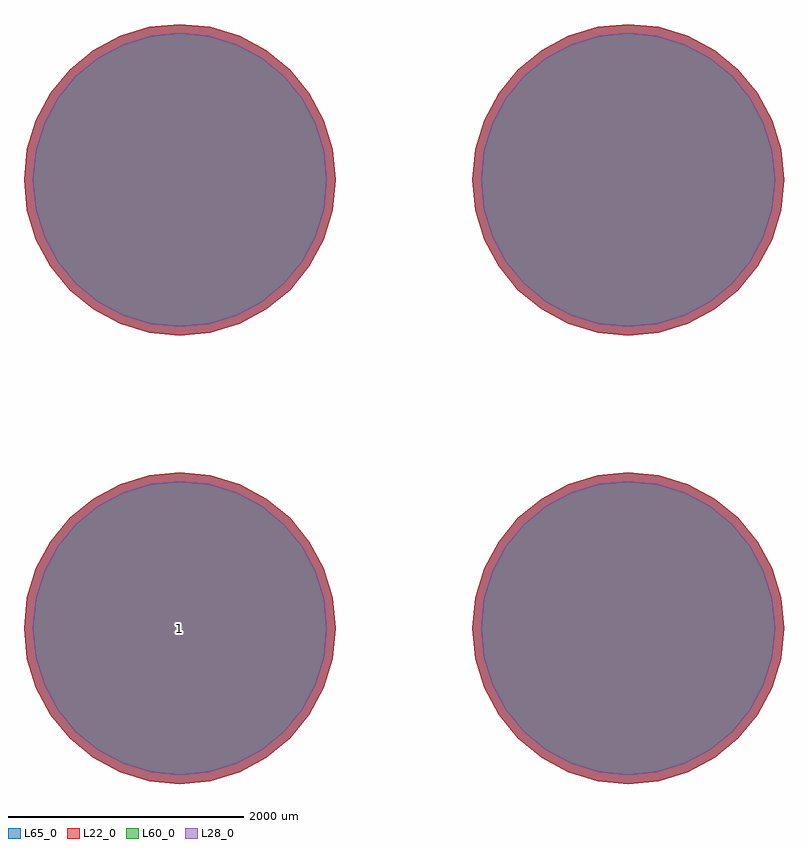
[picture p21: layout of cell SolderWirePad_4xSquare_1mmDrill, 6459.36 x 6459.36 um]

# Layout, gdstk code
import gdstk
lib = gdstk.Library(unit=1e-6, precision=1e-09)
def P(c, l, *ps):  # polygons
    for p in ps: c.add(gdstk.Polygon(p, *l))
L22_0 = (22, 0)
L28_0 = (28, 0)
L60_0 = (60, 0)
L65_0 = (65, 0)

solderwirepad_4xsquare_1 = lib.new_cell('SolderWirePad_4xSquare_1mmDrill')
P(solderwirepad_4xsquare_1, L22_0, [(3229.68,1905),(3204.227,2163.432),(3128.845,2411.933),(3006.431,2640.953),(2841.69,2841.69),(2640.953,3006.431),(2411.933,3128.845),(2163.432,3204.227),(1905,3229.68),(1646.568,3204.227),(1398.067,3128.845),(1169.047,3006.431),(968.31,2841.69),(803.569,2640.953),(681.155,2411.933),(605.773,2163.432),(580.32,1905),(605.773,1646.568),(681.155,1398.067),(803.569,1169.047),(968.31,968.31),(1169.047,803.569),(1398.067,681.155),(1646.568,605.773),(1905,580.32),(2163.432,605.773),(2411.933,681.155),(2640.953,803.569),(2841.69,968.31),(3006.431,1169.047),(3128.845,1398.067),(3204.227,1646.568)],
  [(-580.32,1905),(-605.773,2163.432),(-681.155,2411.933),(-803.569,2640.953),(-968.31,2841.69),(-1169.047,3006.431),(-1398.067,3128.845),(-1646.568,3204.227),(-1905,3229.68),(-2163.432,3204.227),(-2411.933,3128.845),(-2640.953,3006.431),(-2841.69,2841.69),(-3006.431,2640.953),(-3128.845,2411.933),(-3204.227,2163.432),(-3229.68,1905),(-3204.227,1646.568),(-3128.845,1398.067),(-3006.431,1169.047),(-2841.69,968.31),(-2640.953,803.569),(-2411.933,681.155),(-2163.432,605.773),(-1905,580.32),(-1646.568,605.773),(-1398.067,681.155),(-1169.047,803.569),(-968.31,968.31),(-803.569,1169.047),(-681.155,1398.067),(-605.773,1646.568)],
  [(3229.68,-1905),(3204.227,-1646.568),(3128.845,-1398.067),(3006.431,-1169.047),(2841.69,-968.31),(2640.953,-803.569),(2411.933,-681.155),(2163.432,-605.773),(1905,-580.32),(1646.568,-605.773),(1398.067,-681.155),(1169.047,-803.569),(968.31,-968.31),(803.569,-1169.047),(681.155,-1398.067),(605.773,-1646.568),(580.32,-1905),(605.773,-2163.432),(681.155,-2411.933),(803.569,-2640.953),(968.31,-2841.69),(1169.047,-3006.431),(1398.067,-3128.845),(1646.568,-3204.227),(1905,-3229.68),(2163.432,-3204.227),(2411.933,-3128.845),(2640.953,-3006.431),(2841.69,-2841.69),(3006.431,-2640.953),(3128.845,-2411.933),(3204.227,-2163.432)],
  [(-580.32,-1905),(-605.773,-1646.568),(-681.155,-1398.067),(-803.569,-1169.047),(-968.31,-968.31),(-1169.047,-803.569),(-1398.067,-681.155),(-1646.568,-605.773),(-1905,-580.32),(-2163.432,-605.773),(-2411.933,-681.155),(-2640.953,-803.569),(-2841.69,-968.31),(-3006.431,-1169.047),(-3128.845,-1398.067),(-3204.227,-1646.568),(-3229.68,-1905),(-3204.227,-2163.432),(-3128.845,-2411.933),(-3006.431,-2640.953),(-2841.69,-2841.69),(-2640.953,-3006.431),(-2411.933,-3128.845),(-2163.432,-3204.227),(-1905,-3229.68),(-1646.568,-3204.227),(-1398.067,-3128.845),(-1169.047,-3006.431),(-968.31,-2841.69),(-803.569,-2640.953),(-681.155,-2411.933),(-605.773,-2163.432)])
P(solderwirepad_4xsquare_1, L28_0, [(3154.68,1905),(3130.668,2148.8),(3059.554,2383.232),(2944.071,2599.285),(2788.657,2788.657),(2599.285,2944.071),(2383.232,3059.554),(2148.8,3130.668),(1905,3154.68),(1661.2,3130.668),(1426.768,3059.554),(1210.715,2944.071),(1021.343,2788.657),(865.929,2599.285),(750.446,2383.232),(679.332,2148.8),(655.32,1905),(679.332,1661.2),(750.446,1426.768),(865.929,1210.715),(1021.343,1021.343),(1210.715,865.929),(1426.768,750.446),(1661.2,679.332),(1905,655.32),(2148.8,679.332),(2383.232,750.446),(2599.285,865.929),(2788.657,1021.343),(2944.071,1210.715),(3059.554,1426.768),(3130.668,1661.2)],
  [(-655.32,1905),(-679.332,2148.8),(-750.446,2383.232),(-865.929,2599.285),(-1021.343,2788.657),(-1210.715,2944.071),(-1426.768,3059.554),(-1661.2,3130.668),(-1905,3154.68),(-2148.8,3130.668),(-2383.232,3059.554),(-2599.285,2944.071),(-2788.657,2788.657),(-2944.071,2599.285),(-3059.554,2383.232),(-3130.668,2148.8),(-3154.68,1905),(-3130.668,1661.2),(-3059.554,1426.768),(-2944.071,1210.715),(-2788.657,1021.343),(-2599.285,865.929),(-2383.232,750.446),(-2148.8,679.332),(-1905,655.32),(-1661.2,679.332),(-1426.768,750.446),(-1210.715,865.929),(-1021.343,1021.343),(-865.929,1210.715),(-750.446,1426.768),(-679.332,1661.2)],
  [(3154.68,-1905),(3130.668,-1661.2),(3059.554,-1426.768),(2944.071,-1210.715),(2788.657,-1021.343),(2599.285,-865.929),(2383.232,-750.446),(2148.8,-679.332),(1905,-655.32),(1661.2,-679.332),(1426.768,-750.446),(1210.715,-865.929),(1021.343,-1021.343),(865.929,-1210.715),(750.446,-1426.768),(679.332,-1661.2),(655.32,-1905),(679.332,-2148.8),(750.446,-2383.232),(865.929,-2599.285),(1021.343,-2788.657),(1210.715,-2944.071),(1426.768,-3059.554),(1661.2,-3130.668),(1905,-3154.68),(2148.8,-3130.668),(2383.232,-3059.554),(2599.285,-2944.071),(2788.657,-2788.657),(2944.071,-2599.285),(3059.554,-2383.232),(3130.668,-2148.8)],
  [(-655.32,-1905),(-679.332,-1661.2),(-750.446,-1426.768),(-865.929,-1210.715),(-1021.343,-1021.343),(-1210.715,-865.929),(-1426.768,-750.446),(-1661.2,-679.332),(-1905,-655.32),(-2148.8,-679.332),(-2383.232,-750.446),(-2599.285,-865.929),(-2788.657,-1021.343),(-2944.071,-1210.715),(-3059.554,-1426.768),(-3130.668,-1661.2),(-3154.68,-1905),(-3130.668,-2148.8),(-3059.554,-2383.232),(-2944.071,-2599.285),(-2788.657,-2788.657),(-2599.285,-2944.071),(-2383.232,-3059.554),(-2148.8,-3130.668),(-1905,-3154.68),(-1661.2,-3130.668),(-1426.768,-3059.554),(-1210.715,-2944.071),(-1021.343,-2788.657),(-865.929,-2599.285),(-750.446,-2383.232),(-679.332,-2148.8)])
P(solderwirepad_4xsquare_1, L60_0, [(3154.68,1905),(3130.668,2148.8),(3059.554,2383.232),(2944.071,2599.285),(2788.657,2788.657),(2599.285,2944.071),(2383.232,3059.554),(2148.8,3130.668),(1905,3154.68),(1661.2,3130.668),(1426.768,3059.554),(1210.715,2944.071),(1021.343,2788.657),(865.929,2599.285),(750.446,2383.232),(679.332,2148.8),(655.32,1905),(679.332,1661.2),(750.446,1426.768),(865.929,1210.715),(1021.343,1021.343),(1210.715,865.929),(1426.768,750.446),(1661.2,679.332),(1905,655.32),(2148.8,679.332),(2383.232,750.446),(2599.285,865.929),(2788.657,1021.343),(2944.071,1210.715),(3059.554,1426.768),(3130.668,1661.2)],
  [(-655.32,1905),(-679.332,2148.8),(-750.446,2383.232),(-865.929,2599.285),(-1021.343,2788.657),(-1210.715,2944.071),(-1426.768,3059.554),(-1661.2,3130.668),(-1905,3154.68),(-2148.8,3130.668),(-2383.232,3059.554),(-2599.285,2944.071),(-2788.657,2788.657),(-2944.071,2599.285),(-3059.554,2383.232),(-3130.668,2148.8),(-3154.68,1905),(-3130.668,1661.2),(-3059.554,1426.768),(-2944.071,1210.715),(-2788.657,1021.343),(-2599.285,865.929),(-2383.232,750.446),(-2148.8,679.332),(-1905,655.32),(-1661.2,679.332),(-1426.768,750.446),(-1210.715,865.929),(-1021.343,1021.343),(-865.929,1210.715),(-750.446,1426.768),(-679.332,1661.2)],
  [(3154.68,-1905),(3130.668,-1661.2),(3059.554,-1426.768),(2944.071,-1210.715),(2788.657,-1021.343),(2599.285,-865.929),(2383.232,-750.446),(2148.8,-679.332),(1905,-655.32),(1661.2,-679.332),(1426.768,-750.446),(1210.715,-865.929),(1021.343,-1021.343),(865.929,-1210.715),(750.446,-1426.768),(679.332,-1661.2),(655.32,-1905),(679.332,-2148.8),(750.446,-2383.232),(865.929,-2599.285),(1021.343,-2788.657),(1210.715,-2944.071),(1426.768,-3059.554),(1661.2,-3130.668),(1905,-3154.68),(2148.8,-3130.668),(2383.232,-3059.554),(2599.285,-2944.071),(2788.657,-2788.657),(2944.071,-2599.285),(3059.554,-2383.232),(3130.668,-2148.8)],
  [(-655.32,-1905),(-679.332,-1661.2),(-750.446,-1426.768),(-865.929,-1210.715),(-1021.343,-1021.343),(-1210.715,-865.929),(-1426.768,-750.446),(-1661.2,-679.332),(-1905,-655.32),(-2148.8,-679.332),(-2383.232,-750.446),(-2599.285,-865.929),(-2788.657,-1021.343),(-2944.071,-1210.715),(-3059.554,-1426.768),(-3130.668,-1661.2),(-3154.68,-1905),(-3130.668,-2148.8),(-3059.554,-2383.232),(-2944.071,-2599.285),(-2788.657,-2788.657),(-2599.285,-2944.071),(-2383.232,-3059.554),(-2148.8,-3130.668),(-1905,-3154.68),(-1661.2,-3130.668),(-1426.768,-3059.554),(-1210.715,-2944.071),(-1021.343,-2788.657),(-865.929,-2599.285),(-750.446,-2383.232),(-679.332,-2148.8)])
P(solderwirepad_4xsquare_1, L65_0, [(3229.68,1905),(3204.227,2163.432),(3128.845,2411.933),(3006.431,2640.953),(2841.69,2841.69),(2640.953,3006.431),(2411.933,3128.845),(2163.432,3204.227),(1905,3229.68),(1646.568,3204.227),(1398.067,3128.845),(1169.047,3006.431),(968.31,2841.69),(803.569,2640.953),(681.155,2411.933),(605.773,2163.432),(580.32,1905),(605.773,1646.568),(681.155,1398.067),(803.569,1169.047),(968.31,968.31),(1169.047,803.569),(1398.067,681.155),(1646.568,605.773),(1905,580.32),(2163.432,605.773),(2411.933,681.155),(2640.953,803.569),(2841.69,968.31),(3006.431,1169.047),(3128.845,1398.067),(3204.227,1646.568)],
  [(-580.32,1905),(-605.773,2163.432),(-681.155,2411.933),(-803.569,2640.953),(-968.31,2841.69),(-1169.047,3006.431),(-1398.067,3128.845),(-1646.568,3204.227),(-1905,3229.68),(-2163.432,3204.227),(-2411.933,3128.845),(-2640.953,3006.431),(-2841.69,2841.69),(-3006.431,2640.953),(-3128.845,2411.933),(-3204.227,2163.432),(-3229.68,1905),(-3204.227,1646.568),(-3128.845,1398.067),(-3006.431,1169.047),(-2841.69,968.31),(-2640.953,803.569),(-2411.933,681.155),(-2163.432,605.773),(-1905,580.32),(-1646.568,605.773),(-1398.067,681.155),(-1169.047,803.569),(-968.31,968.31),(-803.569,1169.047),(-681.155,1398.067),(-605.773,1646.568)],
  [(3229.68,-1905),(3204.227,-1646.568),(3128.845,-1398.067),(3006.431,-1169.047),(2841.69,-968.31),(2640.953,-803.569),(2411.933,-681.155),(2163.432,-605.773),(1905,-580.32),(1646.568,-605.773),(1398.067,-681.155),(1169.047,-803.569),(968.31,-968.31),(803.569,-1169.047),(681.155,-1398.067),(605.773,-1646.568),(580.32,-1905),(605.773,-2163.432),(681.155,-2411.933),(803.569,-2640.953),(968.31,-2841.69),(1169.047,-3006.431),(1398.067,-3128.845),(1646.568,-3204.227),(1905,-3229.68),(2163.432,-3204.227),(2411.933,-3128.845),(2640.953,-3006.431),(2841.69,-2841.69),(3006.431,-2640.953),(3128.845,-2411.933),(3204.227,-2163.432)],
  [(-580.32,-1905),(-605.773,-1646.568),(-681.155,-1398.067),(-803.569,-1169.047),(-968.31,-968.31),(-1169.047,-803.569),(-1398.067,-681.155),(-1646.568,-605.773),(-1905,-580.32),(-2163.432,-605.773),(-2411.933,-681.155),(-2640.953,-803.569),(-2841.69,-968.31),(-3006.431,-1169.047),(-3128.845,-1398.067),(-3204.227,-1646.568),(-3229.68,-1905),(-3204.227,-2163.432),(-3128.845,-2411.933),(-3006.431,-2640.953),(-2841.69,-2841.69),(-2640.953,-3006.431),(-2411.933,-3128.845),(-2163.432,-3204.227),(-1905,-3229.68),(-1646.568,-3204.227),(-1398.067,-3128.845),(-1169.047,-3006.431),(-968.31,-2841.69),(-803.569,-2640.953),(-681.155,-2411.933),(-605.773,-2163.432)])
solderwirepad_4xsquare_1.add(gdstk.Label('1', (-1905,-1905), layer=28, texttype=0))
solderwirepad_4xsquare_1.add(gdstk.Label('type', (-635,-5080), layer=9, texttype=0))
solderwirepad_4xsquare_1.add(gdstk.Label('devicename', (0,4445), layer=9, texttype=0))

lib.write_gds('SolderWirePad_4xSquare_1mmDrill.gds')
